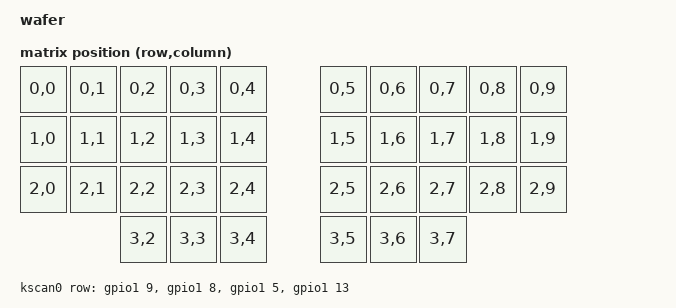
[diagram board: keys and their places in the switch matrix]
/*
 * Copyright (c) 2020 The ZMK Contributors
 *
 * SPDX-License-Identifier: MIT
 */

/dts-v1/;
#include <nordic/nrf52840_qiaa.dtsi>
#include <common/nordic/nrf52840_uf2_boot_mode.dtsi>
#include "wafer-pinctrl.dtsi"
#include <dt-bindings/zmk/matrix_transform.h>
#include <layouts/wafer/wafer_layout.dtsi>

&wafer_layout_phys {
    transform = <&default_transform>;
};

/ {
    model = "wafer";
    compatible = "waferkeyboard,wafer";

    chosen {
        zephyr,code-partition = &code_partition;
        zephyr,sram = &sram0;
        zephyr,flash = &flash0;

        zmk,physical-layout = &wafer_layout_phys;
        zephyr,display = &display;
        zmk,battery = &npm1300_vbat_sensor;
    };

    default_transform: keymap_transform_0 {
        compatible = "zmk,matrix-transform";
        columns = <10>;
        rows = <4>;

        map = <
            RC(0,0) RC(0,1) RC(0,2) RC(0,3) RC(0,4) RC(0,5) RC(0,6) RC(0,7) RC(0,8) RC(0,9)
            RC(1,0) RC(1,1) RC(1,2) RC(1,3) RC(1,4) RC(1,5) RC(1,6) RC(1,7) RC(1,8) RC(1,9)
            RC(2,0) RC(2,1) RC(2,2) RC(2,3) RC(2,4) RC(2,5) RC(2,6) RC(2,7) RC(2,8) RC(2,9)
                            RC(3,2) RC(3,3) RC(3,4) RC(3,5) RC(3,6) RC(3,7)
        >;
    };

    kscan0: kscan {
        compatible = "zmk,kscan-gpio-matrix";
        wakeup-source;
        diode-direction = "col2row";
        row-gpios = <&gpio1 9 (GPIO_ACTIVE_HIGH | GPIO_PULL_DOWN)>,
                    <&gpio1 8 (GPIO_ACTIVE_HIGH | GPIO_PULL_DOWN)>,
                    <&gpio1 5 (GPIO_ACTIVE_HIGH | GPIO_PULL_DOWN)>,
                    <&gpio1 13 (GPIO_ACTIVE_HIGH | GPIO_PULL_DOWN)>;
    };

    leds {
        compatible = "gpio-leds";
        blue_led: led_0 {
            gpios = <&gpio0 16 GPIO_ACTIVE_HIGH>;
        };
    };

    EXT_POWER {
        compatible = "zmk,ext-power-generic";
        /* P0.29 -> nPM1300 GPIO0 to toggle the load switch */
        control-gpios = <&gpio0 29 GPIO_ACTIVE_LOW>;
        init-delay-ms = <150>;
    };
};

&gpio0 { status = "okay"; };
&gpio1 { status = "okay"; };
&gpiote { status = "okay"; };
&adc   { status = "okay"; };
&reg1 {
	regulator-initial-mode = <NRF5X_REG_MODE_DCDC>;
};

&uart0 {
    compatible = "nordic,nrf-uarte";
    current-speed = <115200>;
    status = "okay";
    pinctrl-0 = <&uart0_default>;
    pinctrl-1 = <&uart0_sleep>;
    pinctrl-names = "default", "sleep";
};

zephyr_udc0: &usbd {
    status = "okay";
};


&flash0 {
    partitions {
        compatible = "fixed-partitions";
        #address-cells = <1>;
        #size-cells = <1>;

        sd_partition: partition@0 {
            reg = <0x00000000 0x00026000>;
        };
        code_partition: partition@26000 {
            reg = <0x00026000 0x000c6000>;
        };
        storage_partition: partition@ec000 {
            reg = <0x000ec000 0x00008000>;
        };
        boot_partition: partition@f4000 {
            reg = <0x000f4000 0x0000c000>;
        };
    };
};

#include "wafer-pmic.dtsi"
#include "wafer-display.dtsi"
#include "wafer-power.dtsi"
